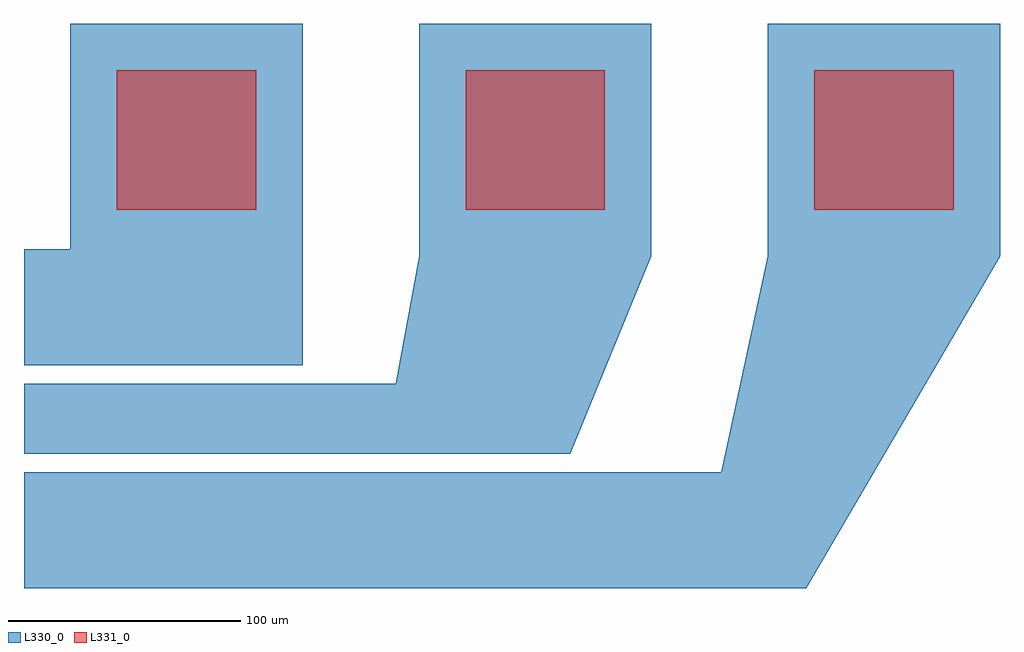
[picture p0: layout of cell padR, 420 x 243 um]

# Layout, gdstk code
import gdstk
lib = gdstk.Library(unit=1e-6, precision=5e-09)
def R(c, l, rs):  # rectangles x0, y0, x1, y1
    for r in rs: c.add(gdstk.rectangle(r[:2], r[2:], *l))
def A(c, l, x, y, w, h, nx, ny, dx, dy):  # array of equal rectangles
    R(c, l, [(x+i*dx, y+j*dy, x+i*dx+w, y+j*dy+h) for i in range(nx) for j in range(ny)])
def P(c, l, *ps):  # polygons
    for p in ps: c.add(gdstk.Polygon(p, *l))
L330_0 = (330, 0)
L331_0 = (331, 0)

padr = lib.new_cell('padR')
P(padr, L330_0, [(-50,-193),(-50,-143),(250,-143),(270,-50),(270,50),(370,50),(370,-50),(286.555,-193)],
  [(-50,-135),(-50,-105),(110,-105),(120,-50),(120,50),(220,50),(220,-50),(185,-135)],
  [(-50,-97),(-50,-47),(-30,-47),(-30,50),(70,50),(70,-97)])
A(padr, L331_0, -10, -30, 60, 60, 3, 1, 150, 0)

lib.write_gds('padR.gds')
